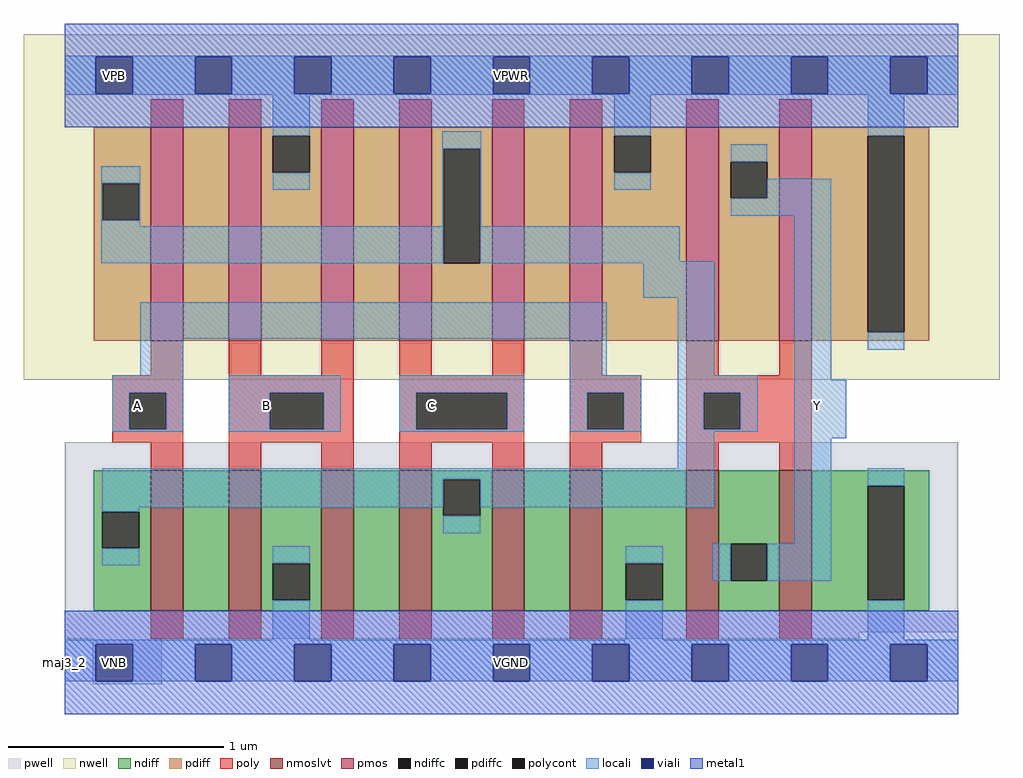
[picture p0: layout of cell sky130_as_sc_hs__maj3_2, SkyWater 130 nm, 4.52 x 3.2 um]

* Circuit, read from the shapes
.subckt sky130_as_sc_hs__maj3_2 VNB VPB VPWR VGND B A C Y
XM1 n1 A n2 VNB sky130_fd_pr__nfet_01v8_lvt w=0.65 l=0.15
XM2 VGND B n1 VNB sky130_fd_pr__nfet_01v8_lvt w=0.65 l=0.15
XM3 n3 B VGND VNB sky130_fd_pr__nfet_01v8_lvt w=0.65 l=0.15
XM4 n2 C n3 VNB sky130_fd_pr__nfet_01v8_lvt w=0.65 l=0.15
XM5 n4 C n2 VNB sky130_fd_pr__nfet_01v8_lvt w=0.65 l=0.15
XM6 VGND A n4 VNB sky130_fd_pr__nfet_01v8_lvt w=0.65 l=0.15
XM7 Y n2 VGND VNB sky130_fd_pr__nfet_01v8_lvt w=0.65 l=0.15 m=2
XM8 n5 A n2 VPB sky130_fd_pr__pfet_01v8 w=0.99 l=0.15
XM9 VPWR B n5 VPB sky130_fd_pr__pfet_01v8 w=0.99 l=0.15
XM10 n6 B VPWR VPB sky130_fd_pr__pfet_01v8 w=0.99 l=0.15
XM11 n2 C n6 VPB sky130_fd_pr__pfet_01v8 w=0.99 l=0.15
XM12 n7 C n2 VPB sky130_fd_pr__pfet_01v8 w=0.99 l=0.15
XM13 VPWR A n7 VPB sky130_fd_pr__pfet_01v8 w=0.99 l=0.15
XM14 Y n2 VPWR VPB sky130_fd_pr__pfet_01v8 w=0.99 l=0.15 m=2
.ends

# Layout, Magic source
magic
tech sky130A
magscale 1 2
<< nwell >>
rect -38 262 866 582
<< pwell >>
rect 0 28 828 204
rect 0 22 736 28
rect 26 -20 90 22
<< pmos >>
rect 80 298 110 496
rect 152 298 182 496
rect 238 298 268 496
rect 310 298 340 496
rect 396 298 426 496
rect 468 298 498 496
rect 576 298 606 496
rect 662 298 692 496
<< nmoslvt >>
rect 80 48 110 178
rect 152 48 182 178
rect 238 48 268 178
rect 310 48 340 178
rect 396 48 426 178
rect 468 48 498 178
rect 576 48 606 178
rect 662 48 692 178
<< ndiff >>
rect 27 140 80 178
rect 27 106 35 140
rect 69 106 80 140
rect 27 48 80 106
rect 110 48 152 178
rect 182 92 238 178
rect 182 58 193 92
rect 227 58 238 92
rect 182 48 238 58
rect 268 48 310 178
rect 340 170 396 178
rect 340 136 351 170
rect 385 136 396 170
rect 340 48 396 136
rect 426 48 468 178
rect 498 92 576 178
rect 498 58 520 92
rect 554 58 576 92
rect 498 48 576 58
rect 606 110 662 178
rect 606 76 617 110
rect 651 76 662 110
rect 606 48 662 76
rect 692 164 801 178
rect 692 58 744 164
rect 778 58 801 164
rect 692 48 801 58
<< pdiff >>
rect 27 444 80 496
rect 27 410 35 444
rect 69 410 80 444
rect 27 298 80 410
rect 110 298 152 496
rect 182 488 238 496
rect 182 454 193 488
rect 227 454 238 488
rect 182 298 238 454
rect 268 298 310 496
rect 340 476 396 496
rect 340 370 351 476
rect 385 370 396 476
rect 340 298 396 370
rect 426 298 468 496
rect 498 488 576 496
rect 498 454 509 488
rect 543 454 576 488
rect 498 298 576 454
rect 606 464 662 496
rect 606 430 617 464
rect 651 430 662 464
rect 606 298 662 430
rect 692 488 801 496
rect 692 306 744 488
rect 778 306 801 488
rect 692 298 801 306
<< ndiffc >>
rect 35 106 69 140
rect 193 58 227 92
rect 351 136 385 170
rect 520 58 554 92
rect 617 76 651 110
rect 744 58 778 164
<< pdiffc >>
rect 35 410 69 444
rect 193 454 227 488
rect 351 370 385 476
rect 509 454 543 488
rect 617 430 651 464
rect 744 306 778 488
<< poly >>
rect 80 496 110 522
rect 152 496 182 522
rect 238 496 268 522
rect 310 496 340 522
rect 396 496 426 522
rect 468 496 498 522
rect 576 496 606 522
rect 662 496 692 522
rect 80 266 110 298
rect 44 250 110 266
rect 44 216 60 250
rect 94 216 110 250
rect 44 204 110 216
rect 80 178 110 204
rect 152 266 182 298
rect 238 266 268 298
rect 152 250 268 266
rect 152 216 190 250
rect 240 216 268 250
rect 152 204 268 216
rect 152 178 182 204
rect 238 178 268 204
rect 310 266 340 298
rect 396 266 426 298
rect 310 250 426 266
rect 310 216 326 250
rect 410 216 426 250
rect 310 204 426 216
rect 310 178 340 204
rect 396 178 426 204
rect 468 266 498 298
rect 576 266 606 298
rect 662 266 692 298
rect 468 250 534 266
rect 468 216 484 250
rect 518 216 534 250
rect 468 204 534 216
rect 576 250 692 266
rect 576 216 592 250
rect 626 216 692 250
rect 576 204 692 216
rect 468 178 498 204
rect 576 178 606 204
rect 662 178 692 204
rect 80 22 110 48
rect 152 22 182 48
rect 238 22 268 48
rect 310 22 340 48
rect 396 22 426 48
rect 468 22 498 48
rect 576 22 606 48
rect 662 22 692 48
<< polycont >>
rect 60 216 94 250
rect 190 216 240 250
rect 326 216 410 250
rect 484 216 518 250
rect 592 216 626 250
<< locali >>
rect 0 561 828 562
rect 0 527 29 561
rect 63 527 121 561
rect 155 527 213 561
rect 247 527 305 561
rect 339 527 397 561
rect 431 527 489 561
rect 523 527 581 561
rect 615 527 673 561
rect 707 527 765 561
rect 799 527 828 561
rect 0 526 828 527
rect 193 488 227 526
rect 34 444 70 460
rect 34 410 35 444
rect 69 410 70 444
rect 193 438 227 454
rect 350 476 386 492
rect 34 404 70 410
rect 350 404 351 476
rect 34 370 351 404
rect 385 404 386 476
rect 509 488 543 526
rect 744 488 778 526
rect 509 438 543 454
rect 617 464 651 480
rect 651 430 710 448
rect 617 414 710 430
rect 385 372 570 404
rect 385 370 602 372
rect 536 338 602 370
rect 70 300 502 334
rect 70 266 110 300
rect 468 266 502 300
rect 568 266 602 338
rect 44 250 110 266
rect 44 216 60 250
rect 94 216 110 250
rect 44 214 110 216
rect 152 250 256 266
rect 152 216 190 250
rect 240 216 256 250
rect 152 214 256 216
rect 310 250 426 266
rect 310 216 326 250
rect 410 216 426 250
rect 310 214 426 216
rect 468 250 534 266
rect 468 216 484 250
rect 518 216 534 250
rect 468 214 534 216
rect 568 250 642 266
rect 568 216 592 250
rect 626 216 642 250
rect 568 214 642 216
rect 676 262 710 414
rect 744 290 778 306
rect 568 180 602 214
rect 35 170 602 180
rect 35 144 351 170
rect 35 140 69 144
rect 385 144 602 170
rect 676 208 724 262
rect 351 120 385 136
rect 676 110 710 208
rect 35 90 69 106
rect 193 92 227 108
rect 193 21 227 58
rect 520 92 554 108
rect 600 76 617 110
rect 651 76 710 110
rect 744 164 778 180
rect 520 21 554 58
rect 744 21 778 58
rect 0 17 828 21
rect 0 -17 29 17
rect 63 -17 121 17
rect 155 -17 213 17
rect 247 -17 305 17
rect 339 -17 397 17
rect 431 -17 489 17
rect 523 -17 581 17
rect 615 -17 673 17
rect 707 -17 765 17
rect 799 -17 828 17
<< viali >>
rect 29 527 63 561
rect 121 527 155 561
rect 213 527 247 561
rect 305 527 339 561
rect 397 527 431 561
rect 489 527 523 561
rect 581 527 615 561
rect 673 527 707 561
rect 765 527 799 561
rect 29 -17 63 17
rect 121 -17 155 17
rect 213 -17 247 17
rect 305 -17 339 17
rect 397 -17 431 17
rect 489 -17 523 17
rect 581 -17 615 17
rect 673 -17 707 17
rect 765 -17 799 17
<< metal1 >>
rect 0 561 828 592
rect 0 527 29 561
rect 63 527 121 561
rect 155 527 213 561
rect 247 527 305 561
rect 339 527 397 561
rect 431 527 489 561
rect 523 527 581 561
rect 615 527 673 561
rect 707 527 765 561
rect 799 527 828 561
rect 0 496 828 527
rect 0 17 828 48
rect 0 -17 29 17
rect 63 -17 121 17
rect 155 -17 213 17
rect 247 -17 305 17
rect 339 -17 397 17
rect 431 -17 489 17
rect 523 -17 581 17
rect 615 -17 673 17
rect 707 -17 765 17
rect 799 -17 828 17
rect 0 -48 828 -17
<< labels >>
rlabel comment s 0 0 0 0 4 maj3_2
flabel pwell s 29 -17 63 17 0 FreeSans 200 0 0 0 VNB
port 1 nsew ground bidirectional
flabel pwell s 46 0 46 0 0 FreeSans 200 0 0 0 VNB
flabel nwell s 29 527 63 561 0 FreeSans 200 0 0 0 VPB
port 2 nsew power bidirectional
flabel nwell s 46 544 46 544 0 FreeSans 200 0 0 0 VPB
flabel metal1 s 29 527 63 561 0 FreeSans 200 0 0 0 VPWR
port 3 nsew power bidirectional abutment
flabel metal1 s 29 -17 63 17 0 FreeSans 200 0 0 0 VGND
port 4 nsew ground bidirectional abutment
rlabel metal1 s 0 -48 828 48 1 VGND
port 4 nsew ground bidirectional abutment
rlabel metal1 s 0 496 828 592 1 VPWR
port 3 nsew power bidirectional abutment
flabel locali 170 221 204 255 0 FreeSans 200 0 0 0 B
port 5 nsew signal input
flabel locali 51 221 85 255 0 FreeSans 200 0 0 0 A
port 6 nsew signal input
flabel locali 68 238 68 238 0 FreeSans 200 0 0 0 A
flabel locali 323 221 357 255 0 FreeSans 200 0 0 0 C
port 7 nsew signal input
flabel locali 340 238 340 238 0 FreeSans 200 0 0 0 C
flabel locali 680 221 714 255 0 FreeSans 200 0 0 0 Y
port 8 nsew signal output
flabel locali 697 238 697 238 0 FreeSans 200 0 0 0 Y
flabel locali 187 238 187 238 0 FreeSans 200 0 0 0 B
<< properties >>
string FIXED_BBOX 0 0 828 544
string GDS_FILE $PDKPATH/libs.ref/sky130_as_sc_hs/gds/sky130_as_sc_hs__maj3_2.gds
string LEFclass CORE
string LEFsite unithd
string LEFsymmetry X Y R90
string MASKHINTS_LVTN 0 -4 828 214
string MASKHINTS_NSDM 0 -38 828 204
string MASKHINTS_PSDM 0 272 828 582
<< end >>
